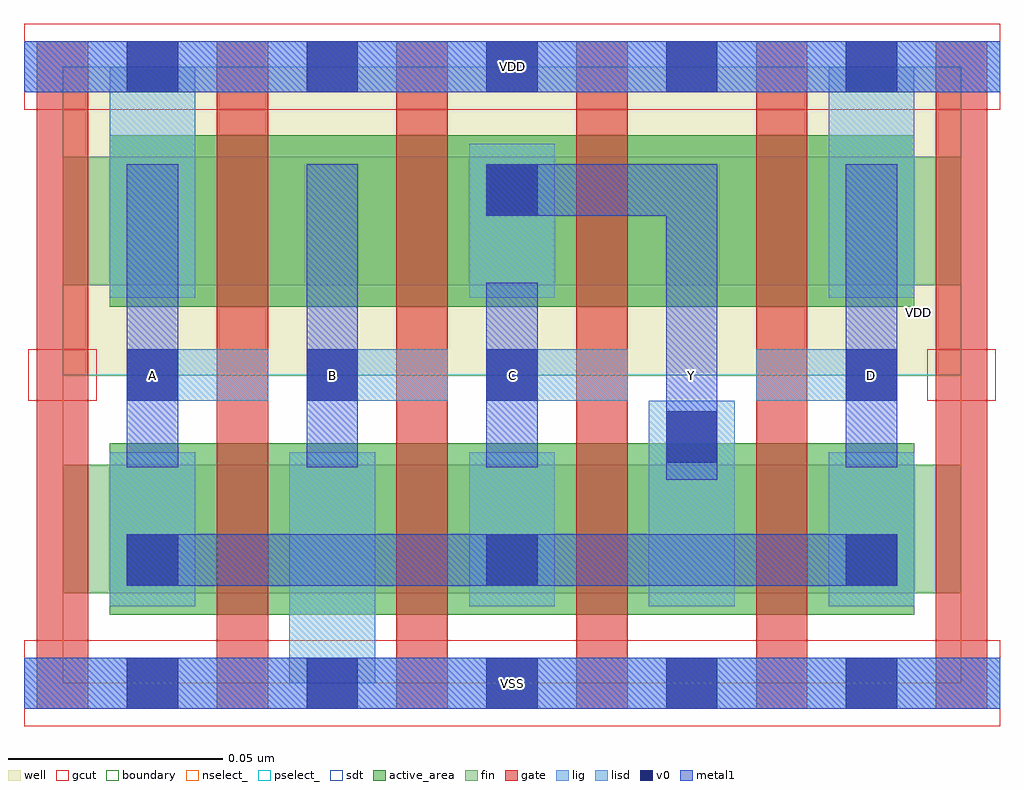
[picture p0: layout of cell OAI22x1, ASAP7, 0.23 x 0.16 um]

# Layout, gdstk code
import gdstk
lib = gdstk.Library(unit=1e-6, precision=2.5e-10)
def R(c, l, rs):  # rectangles x0, y0, x1, y1
    for r in rs: c.add(gdstk.rectangle(r[:2], r[2:], *l))
def A(c, l, x, y, w, h, nx, ny, dx, dy):  # array of equal rectangles
    R(c, l, [(x+i*dx, y+j*dy, x+i*dx+w, y+j*dy+h) for i in range(nx) for j in range(ny)])
def P(c, l, *ps):  # polygons
    for p in ps: c.add(gdstk.Polygon(p, *l))
well = (1, 0)
fin = (2, 0)
gate = (7, 0)
gcut = (10, 0)
active_area = (11, 0)
nselect_ = (12, 0)
pselect_ = (13, 0)
lig = (16, 0)
lisd = (17, 0)
v0 = (18, 0)
metal1 = (19, 0)
sdt = (88, 0)
boundary = (100, 0)

oai22x1 = lib.new_cell('OAI22x1')
R(oai22x1, well, [(0,0.072,0.21,0.144)])
R(oai22x1, fin, [(0,0.021,0.21,0.051), (0,0.093,0.21,0.123)])
A(oai22x1, gate, -0.006, -0.006, 0.012, 0.156, 6, 1, 0.042, 0)
R(oai22x1, gcut, [(-0.009,-0.01,0.219,0.01), (-0.008,0.066,0.008,0.078), (0.202,0.066,0.218,0.078), (-0.009,0.134,0.219,0.154)])
R(oai22x1, active_area, [(0.011,0.016,0.199,0.056), (0.011,0.088,0.199,0.128)])
R(oai22x1, nselect_, [(0,0,0.21,0.072)])
R(oai22x1, pselect_, [(0,0.072,0.21,0.144)])
A(oai22x1, lig, 0.015, 0.066, 0.033, 0.012, 3, 1, 0.042, 0)
R(oai22x1, lig, [(-0.009,-0.006,0.219,0.006), (0.162,0.066,0.195,0.078), (-0.009,0.138,0.219,0.15)])
A(oai22x1, lisd, 0.011, 0.018, 0.02, 0.036, 3, 1, 0.084, 0)
R(oai22x1, lisd, [(0.053,0,0.073,0.054), (0.137,0.018,0.157,0.066), (0.011,0.09,0.031,0.144), (0.095,0.09,0.115,0.126), (0.179,0.09,0.199,0.144)])
A(oai22x1, v0, 0.015, -0.006, 0.012, 0.012, 5, 2, 0.042, 0.144)
A(oai22x1, v0, 0.015, 0.0227, 0.012, 0.012, 3, 1, 0.084, 0)
A(oai22x1, v0, 0.015, 0.066, 0.012, 0.012, 3, 1, 0.042, 0)
R(oai22x1, v0, [(0.141,0.0515,0.153,0.0635), (0.183,0.066,0.195,0.078), (0.099,0.1092,0.111,0.1212)])
R(oai22x1, metal1, [(-0.009,-0.006,0.219,0.006), (0.015,0.0227,0.195,0.0348), (0.015,0.0505,0.027,0.1212), (0.057,0.0505,0.069,0.1212), (0.099,0.0505,0.111,0.0935), (0.183,0.0505,0.195,0.1212), (-0.009,0.138,0.219,0.15)])
P(oai22x1, metal1, [(0.099,0.1212),(0.099,0.1092),(0.141,0.1092),(0.141,0.0475),(0.153,0.0475),(0.153,0.1212)])
A(oai22x1, sdt, 0.011, 0.021, 0.02, 0.03, 5, 1, 0.042, 0)
A(oai22x1, sdt, 0.011, 0.093, 0.02, 0.03, 3, 1, 0.084, 0)
R(oai22x1, boundary, [(0,0,0.21,0.144)])
oai22x1.add(gdstk.Label('VDD', (0.2,0.0865), layer=1, texttype=251))
oai22x1.add(gdstk.Label('VSS', (0.24,0.0505), layer=3, texttype=251))
oai22x1.add(gdstk.Label('D', (0.189,0.072), layer=19, texttype=251))
oai22x1.add(gdstk.Label('C', (0.105,0.072), layer=19, texttype=251))
oai22x1.add(gdstk.Label('Y', (0.147,0.072), layer=19, texttype=251))
oai22x1.add(gdstk.Label('A', (0.021,0.072), layer=19, texttype=251))
oai22x1.add(gdstk.Label('VSS', (0.105,0), layer=19, texttype=251))
oai22x1.add(gdstk.Label('VDD', (0.105,0.144), layer=19, texttype=251))
oai22x1.add(gdstk.Label('B', (0.063,0.072), layer=19, texttype=251))

lib.write_gds('OAI22x1.gds')
